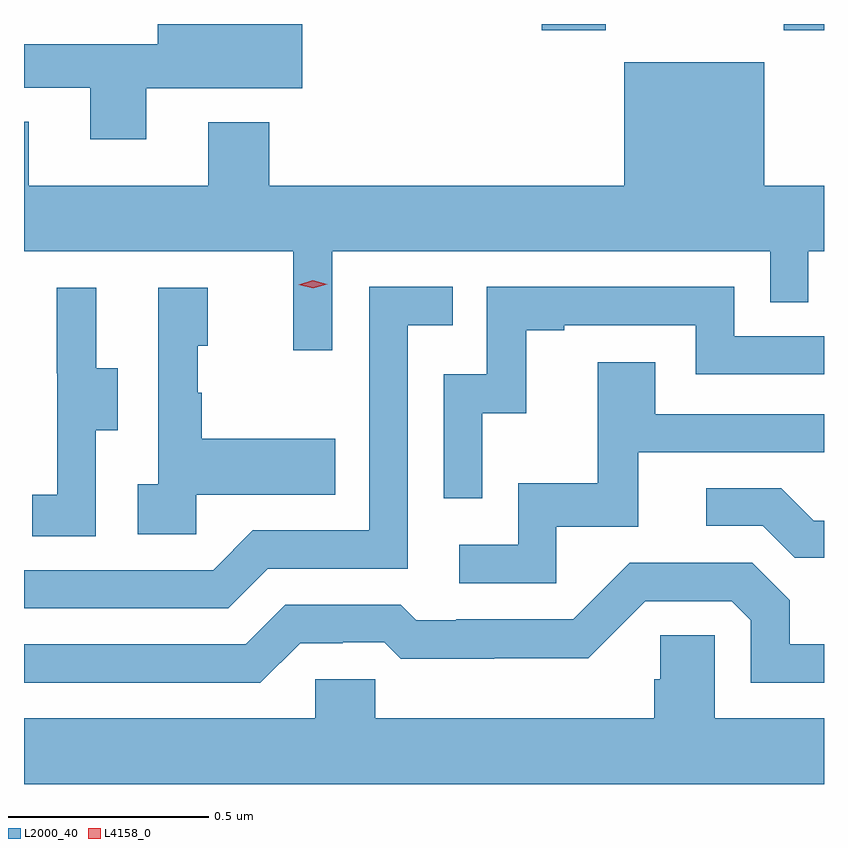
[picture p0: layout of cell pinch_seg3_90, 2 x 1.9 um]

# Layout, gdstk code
import gdstk
lib = gdstk.Library(unit=1e-6, precision=1e-09)
def R(c, l, rs):  # rectangles x0, y0, x1, y1
    for r in rs: c.add(gdstk.rectangle(r[:2], r[2:], *l))
def P(c, l, *ps):  # polygons
    for p in ps: c.add(gdstk.Polygon(p, *l))
L2000_40 = (2000, 40)
L4158_0 = (4158, 0)

pinch_seg3_90 = lib.new_cell('pinch_seg3_90')
R(pinch_seg3_90, L2000_40, [(1047.383,726.777,1047.543,726.792), (1047.988,726.777,1048.089,726.792)])
P(pinch_seg3_90, L2000_40, [(1046.395,726.632),(1046.785,726.632),(1046.785,726.792),(1046.423,726.792),(1046.423,726.742),(1046.089,726.742),(1046.089,726.633),(1046.255,726.633),(1046.255,726.504),(1046.395,726.504)],
  [(1046.859,726.224),(1047.954,726.224),(1047.954,726.097),(1048.05,726.097),(1048.05,726.224),(1048.089,726.224),(1048.089,726.388),(1047.94,726.388),(1047.94,726.697),(1047.59,726.697),(1047.59,726.388),(1046.702,726.388),(1046.702,726.547),(1046.549,726.547),(1046.549,726.388),(1046.101,726.388),(1046.101,726.548),(1046.089,726.548),(1046.089,726.224),(1046.762,726.224),(1046.762,725.976),(1046.859,725.976)],
  [(1047.234,725.819),(1047.344,725.819),(1047.344,726.027),(1047.439,726.027),(1047.439,726.039),(1047.768,726.039),(1047.768,725.916),(1048.089,725.916),(1048.089,726.012),(1047.864,726.012),(1047.864,726.135),(1047.246,726.135),(1047.246,725.916),(1047.138,725.916),(1047.138,725.607),(1047.234,725.607)],
  [(1046.698,725.43),(1047.048,725.43),(1047.048,726.039),(1047.161,726.039),(1047.161,726.135),(1046.952,726.135),(1046.952,725.526),(1046.661,725.526),(1046.562,725.427),(1046.089,725.427),(1046.089,725.331),(1046.599,725.331)],
  [(1046.52,725.615),(1046.867,725.615),(1046.867,725.755),(1046.533,725.755),(1046.533,725.87),(1046.523,725.87),(1046.523,725.988),(1046.548,725.988),(1046.548,726.133),(1046.424,726.133),(1046.424,725.642),(1046.373,725.642),(1046.373,725.517),(1046.52,725.517)],
  [(1046.268,725.776),(1046.323,725.776),(1046.323,725.931),(1046.269,725.931),(1046.269,726.133),(1046.171,726.133),(1046.171,725.919),(1046.172,725.919),(1046.172,725.615),(1046.109,725.615),(1046.109,725.512),(1046.268,725.512)],
  [(1047.42,725.535),(1047.625,725.535),(1047.625,725.721),(1048.089,725.721),(1048.089,725.817),(1047.667,725.817),(1047.667,725.947),(1047.523,725.947),(1047.523,725.644),(1047.324,725.644),(1047.324,725.49),(1047.177,725.49),(1047.177,725.394),(1047.42,725.394)],
  [(1048.089,725.55),(1048.063,725.55),(1047.982,725.631),(1047.795,725.631),(1047.795,725.538),(1047.936,725.538),(1048.016,725.458),(1048.089,725.458)],
  [(1046.779,725.244),(1046.886,725.244),(1046.886,725.247),(1046.989,725.247),(1047.031,725.205),(1047.264,725.205),(1047.264,725.207),(1047.5,725.207),(1047.642,725.349),(1047.858,725.349),(1047.906,725.301),(1047.906,725.145),(1048.089,725.145),(1048.089,725.241),(1048.003,725.241),(1048.003,725.351),(1047.909,725.445),(1047.603,725.445),(1047.462,725.304),(1047.169,725.304),(1047.169,725.301),(1047.07,725.301),(1047.031,725.34),(1046.742,725.34),(1046.643,725.241),(1046.089,725.241),(1046.089,725.145),(1046.68,725.145)],
  [(1048.089,725.056),(1047.816,725.056),(1047.816,725.264),(1047.679,725.264),(1047.679,725.154),(1047.665,725.154),(1047.665,725.056),(1046.967,725.056),(1046.967,725.154),(1046.817,725.154),(1046.817,725.056),(1046.089,725.056),(1046.089,724.892),(1048.089,724.892)])
P(pinch_seg3_90, L4158_0, [(1046.812,726.131),(1046.776,726.14),(1046.775,726.14),(1046.776,726.14),(1046.811,726.151),(1046.847,726.142),(1046.847,726.141),(1046.847,726.141)])

lib.write_gds('pinch_seg3_90.gds')
